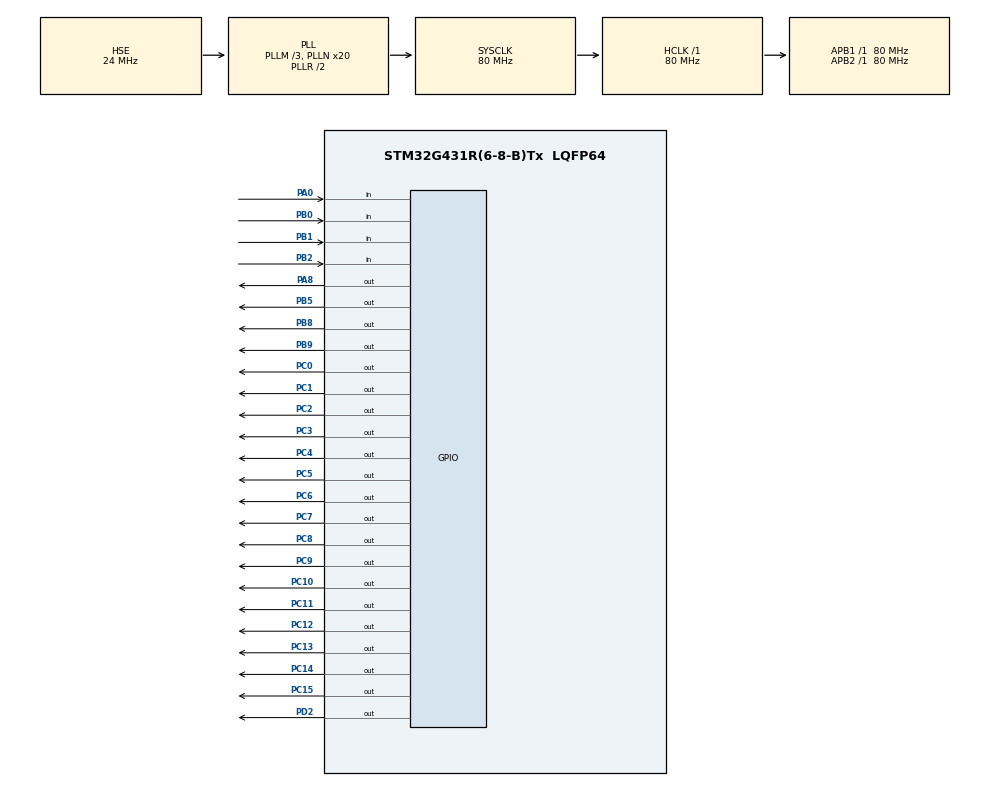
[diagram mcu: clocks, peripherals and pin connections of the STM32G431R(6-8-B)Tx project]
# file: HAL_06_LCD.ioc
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Mcu.Family=STM32G4
RCC.CortexFreq_Value=80000000
PC10.Signal=GPIO_Output
PC12.Signal=GPIO_Output
VP_RTC_VS_RTC_Activate.Mode=RTC_Enabled
RTC.WeekDay=RTC_WEEKDAY_WEDNESDAY
RCC.SYSCLKSource=RCC_SYSCLKSOURCE_PLLCLK
ProjectManager.StackSize=0x400
RTC.SynchPrediv=5858
PB1.GPIO_PuPd=GPIO_NOPULL
RCC.HCLKFreq_Value=80000000
RCC.APB2TimFreq_Value=80000000
PC7.Signal=GPIO_Output
PC3.Signal=GPIO_Output
RCC.AHBFreq_Value=80000000
RCC.HSE_VALUE=24000000
RTC.Minutes=59
PB2.Signal=GPIO_Input
RCC.ADC12Freq_Value=80000000
RCC.RTCClockSelection=RCC_RTCCLKSOURCE_HSE_DIV32
RTC.Month=RTC_MONTH_JUNE
PA14.Mode=Serial_Wire
VP_SYS_VS_DBSignals.Mode=DisableDeadBatterySignals
PA8.Signal=GPIO_Output
PB2.GPIO_PuPd=GPIO_NOPULL
PA0.Signal=GPIO_Input
Mcu.Package=LQFP64
PB9.Signal=GPIO_Output
PB1.Signal=GPIO_Input
PB0.GPIO_Mode=GPIO_MODE_INPUT
PA0.GPIO_PuPd=GPIO_NOPULL
VP_RTC_VS_RTC_Calendar.Mode=RTC_Calendar
RCC.APB1TimFreq_Value=80000000
PC5.Signal=GPIO_Output
PF1-OSC_OUT.Mode=HSE-External-Oscillator
PF1-OSC_OUT.Signal=RCC_OSC_OUT
RCC.HSI48_VALUE=48000000
RCC.PLLSourceVirtual=RCC_PLLSOURCE_HSE
TIM4.AutoReloadPreload=TIM_AUTORELOAD_PRELOAD_ENABLE
PC11.Signal=GPIO_Output
PC13.Signal=GPIO_Output
TIM4.PeriodNoDither=1000 - 1
PC8.Signal=GPIO_Output
PC4.Signal=GPIO_Output
PC2.Signal=GPIO_Output
PC6.Signal=GPIO_Output
PA0.GPIO_Mode=GPIO_MODE_INPUT
RCC.EXTERNAL_CLOCK_VALUE=12288000
PC0.Signal=GPIO_Output
PC14-OSC32_IN.Signal=GPIO_Output
PA13.Signal=SYS_JTMS-SWDIO
ProjectManager.TargetToolchain=MDK-ARM V5.27
RTC.Year=21
PB1.GPIO_Mode=GPIO_MODE_INPUT
RTC.Format=RTC_FORMAT_BIN
RCC.USBFreq_Value=80000000
TIM4.Prescaler=80 - 1
RCC.LSE_VALUE=32768
PC15-OSC32_OUT.Signal=GPIO_Output
PF0-OSC_IN.Mode=HSE-External-Oscillator
PB8-BOOT0.Signal=GPIO_Output
board=custom
RCC.VCOOutputFreq_Value=160000000
RCC.APB2Freq_Value=80000000
PB2.GPIO_Mode=GPIO_MODE_INPUT
PA13.Mode=Serial_Wire
Mcu.Name=STM32G431R(6-8-B)Tx
RCC.SYSCLKFreq_VALUE=80000000
RTC.Hours=11
PB5.Signal=GPIO_Output
PA14.Signal=SYS_JTCK-SWCLK
ProjectManager.HeapSize=0x200
RCC.HSI_VALUE=16000000
VP_TIM4_VS_ClockSourceINT.Mode=Internal
NVIC.PriorityGroup=NVIC_PRIORITYGROUP_4
RCC.PLLM=RCC_PLLM_DIV3
RCC.PLLN=20
PC9.Signal=GPIO_Output
PF0-OSC_IN.Signal=RCC_OSC_IN
PD2.Signal=GPIO_Output
NVIC.TIM4_IRQn=true\:0\:0\:false\:false\:true\:true\:true
RTC.Seconds=59
RCC.APB1Freq_Value=80000000
PB0.Signal=GPIO_Input
RTC.Date=2
PC1.Signal=GPIO_Output
PB0.GPIO_PuPd=GPIO_NOPULL

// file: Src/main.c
/* USER CODE BEGIN Header */
/**
  ******************************************************************************
  * @file           : main.c
  * @brief          : Main program body
  ******************************************************************************
  * @attention
  *
  * <h2><center>&copy; Copyright (c) 2021 STMicroelectronics.
  * All rights reserved.</center></h2>
  *
  * This software component is licensed by ST under BSD 3-Clause license,
  * the "License"; You may not use this file except in compliance with the
  * License. You may obtain a copy of the License at:
  *                        opensource.org/licenses/BSD-3-Clause
  *
  ******************************************************************************
  */
/* USER CODE END Header */

#include "main.h"
#include "rtc.h"
#include "tim.h"
#include "gpio.h"

/* USER CODE BEGIN PV */
uint16_t led_tick = 0;
_Bool led_flag = 0;

uint8_t key_tick = 0;

RTC_TimeTypeDef sTime;
RTC_DateTypeDef sDate;

uint8_t lcd_str[20];
/* USER CODE END PV */

void SystemClock_Config(void);
/* USER CODE BEGIN PFP */
void led_proc(void);
void key_scan(void);
void lcd_proc(void);
/* USER CODE END PFP */

int main(void)
{

  /* MCU Configuration--------------------------------------------------------*/

  /* Reset of all peripherals, Initializes the Flash interface and the Systick. */
  HAL_Init();

  /* Configure the system clock */
  SystemClock_Config();

  /* Initialize all configured peripherals */
  MX_GPIO_Init();
  MX_TIM4_Init();
  MX_RTC_Init();
  /* USER CODE BEGIN 2 */

	LCD_Init();

	led_init();

	HAL_TIM_Base_Start_IT(&htim4);

  /* USER CODE END 2 */

  /* Infinite loop */
  /* USER CODE BEGIN WHILE */

	LCD_Clear(Blue);
	LCD_SetBackColor(Blue);
	LCD_SetTextColor(White);

	LCD_DisplayStringLine(Line0, (uint8_t *)"                    ");
	LCD_DisplayStringLine(Line1, (uint8_t *)"                    ");
	LCD_DisplayStringLine(Line2, (uint8_t *)"      LCD Test      ");
	LCD_DisplayStringLine(Line3, (uint8_t *)"                    ");
	LCD_DisplayStringLine(Line4, (uint8_t *)"                    ");

	LCD_SetBackColor(White);
	LCD_SetTextColor(Blue);

	LCD_DisplayStringLine(Line5, (uint8_t *)"                    ");
	LCD_DisplayStringLine(Line6, (uint8_t *)"                    ");
	LCD_DisplayStringLine(Line7, (uint8_t *)"                    ");
	LCD_DisplayStringLine(Line8, (uint8_t *)"                    ");
	LCD_DisplayStringLine(Line9, (uint8_t *)"                    ");

  while (1)
  {
    /* USER CODE END WHILE */

    /* USER CODE BEGIN 3 */
		led_proc();
		HAL_RTC_GetDate(&hrtc,&sDate,RTC_FORMAT_BIN);
		HAL_RTC_GetTime(&hrtc,&sTime,RTC_FORMAT_BIN);
		lcd_proc();
  }
  /* USER CODE END 3 */
}

void SystemClock_Config(void)
{
  RCC_OscInitTypeDef RCC_OscInitStruct = {0};
  RCC_ClkInitTypeDef RCC_ClkInitStruct = {0};
  RCC_PeriphCLKInitTypeDef PeriphClkInit = {0};

  /** Configure the main internal regulator output voltage
  */
  HAL_PWREx_ControlVoltageScaling(PWR_REGULATOR_VOLTAGE_SCALE1);
  /** Initializes the CPU, AHB and APB busses clocks
  */
  RCC_OscInitStruct.OscillatorType = RCC_OSCILLATORTYPE_HSE;
  RCC_OscInitStruct.HSEState = RCC_HSE_ON;
  RCC_OscInitStruct.PLL.PLLState = RCC_PLL_ON;
  RCC_OscInitStruct.PLL.PLLSource = RCC_PLLSOURCE_HSE;
  RCC_OscInitStruct.PLL.PLLM = RCC_PLLM_DIV3;
  RCC_OscInitStruct.PLL.PLLN = 20;
  RCC_OscInitStruct.PLL.PLLP = RCC_PLLP_DIV2;
  RCC_OscInitStruct.PLL.PLLQ = RCC_PLLQ_DIV2;
  RCC_OscInitStruct.PLL.PLLR = RCC_PLLR_DIV2;
  if (HAL_RCC_OscConfig(&RCC_OscInitStruct) != HAL_OK)
  {
    Error_Handler();
  }
  /** Initializes the CPU, AHB and APB busses clocks
  */
  RCC_ClkInitStruct.ClockType = RCC_CLOCKTYPE_HCLK|RCC_CLOCKTYPE_SYSCLK
                              |RCC_CLOCKTYPE_PCLK1|RCC_CLOCKTYPE_PCLK2;
  RCC_ClkInitStruct.SYSCLKSource = RCC_SYSCLKSOURCE_PLLCLK;
  RCC_ClkInitStruct.AHBCLKDivider = RCC_SYSCLK_DIV1;
  RCC_ClkInitStruct.APB1CLKDivider = RCC_HCLK_DIV1;
  RCC_ClkInitStruct.APB2CLKDivider = RCC_HCLK_DIV1;

  if (HAL_RCC_ClockConfig(&RCC_ClkInitStruct, FLASH_LATENCY_3) != HAL_OK)
  {
    Error_Handler();
  }
  /** Initializes the peripherals clocks
  */
  PeriphClkInit.PeriphClockSelection = RCC_PERIPHCLK_RTC;
  PeriphClkInit.RTCClockSelection = RCC_RTCCLKSOURCE_HSE_DIV32;

  if (HAL_RCCEx_PeriphCLKConfig(&PeriphClkInit) != HAL_OK)
  {
    Error_Handler();
  }
}

/* USER CODE BEGIN 4 */
void lcd_proc(void)
{
	memset(lcd_str,0,sizeof(lcd_str));
	sprintf((char*)lcd_str,"Date:%02d/%02d/%02d",sDate.Year,sDate.Month,sDate.Date);
	LCD_DisplayStringLine(Line6,lcd_str);

	memset(lcd_str,0,sizeof(lcd_str));
	sprintf((char*)lcd_str,"Time:%02d:%02d:%02d",sTime.Hours,sTime.Minutes,sTime.Seconds);
	LCD_DisplayStringLine(Line8,lcd_str);
}

void key_scan(void)
{
	key_refresh();
	if(key_falling == B1)
	{
		led_toggle(LD5);
	}
	else if(key_falling == B2)
	{
		led_toggle(LD6);
	}
	else if(key_falling == B3)
	{
		led_toggle(LD7);
	}
	else if(key_falling == B4)
	{
		led_toggle(LD8);
	}
}

void led_proc(void)
{
	if(led_flag)
	{
		led_flag = 0;
		led_toggle(LD1);
	}
}

void HAL_TIM_PeriodElapsedCallback(TIM_HandleTypeDef *htim)
{
	if(htim->Instance == TIM4)
	{
		if(++led_tick == 1000)
		{
			led_tick = 0;
			led_flag = 1;
		}
		if(++key_tick == 10)
		{
			key_tick = 0;
			key_scan();
		}
	}
}
/* USER CODE END 4 */

void Error_Handler(void)
{
}

/************************ (C) COPYRIGHT STMicroelectronics *****END OF FILE****/
